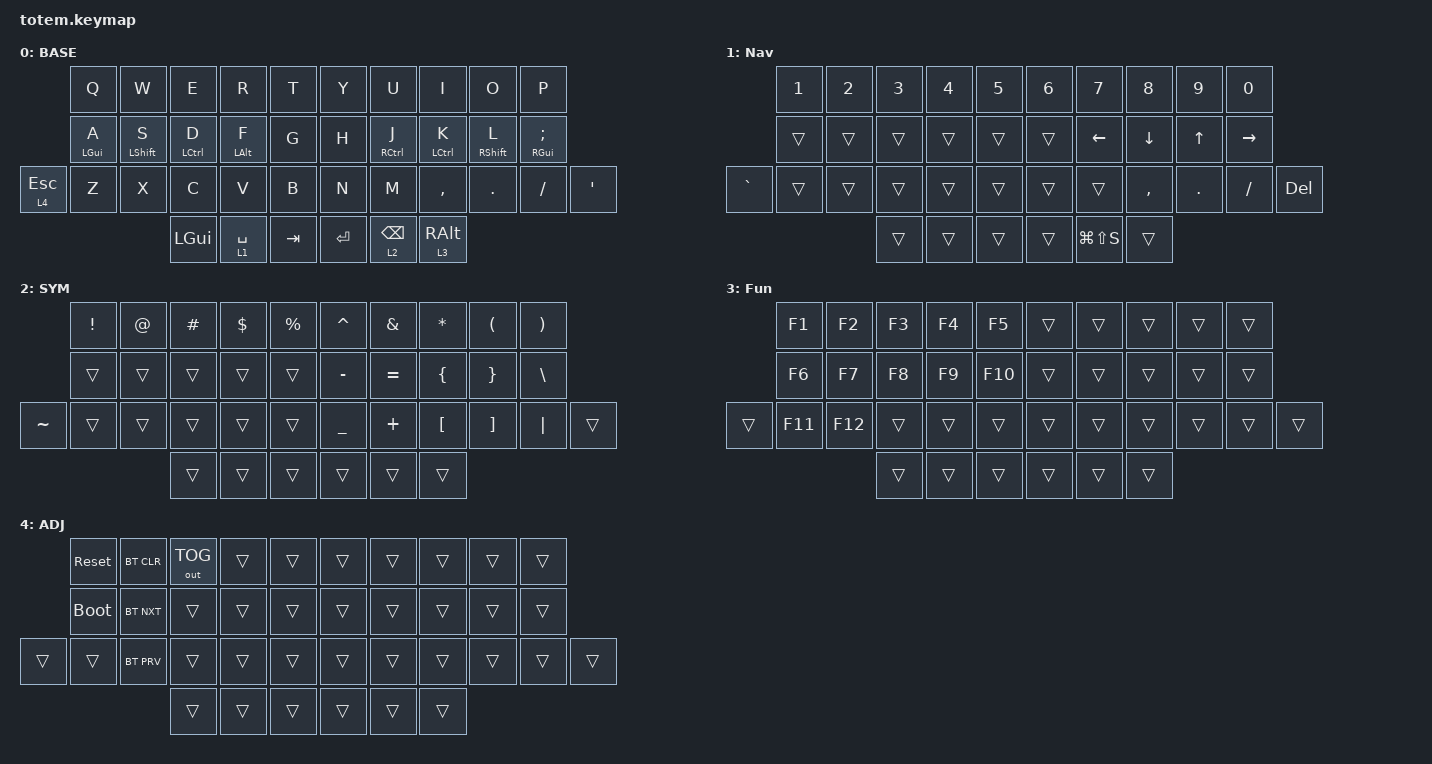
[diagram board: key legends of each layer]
//
//                                                        ▀▀▀▀▀     ▀▀▀▀▀          ▀▀█▀▀
//                                                        ▄▀▀▀▄  ▄  ▄▀▀▀▄  ▄  ▄▀▀▀▄  █  ▄▀▀▀▄
//                                                        █   █  █  █   █  █  █   █  █  █   █
//                                                         ▀▀▀   █   ▀▀▀   █   ▀▀▀   ▀   ▀▀▀
//                                                               █      ▄▄▄█▄▄▄    █   █  
//                                                               ▀      █  █  █     █▄█
//                                                             ▀▀▀▀▀    █  █  █      ▀
//                                                                      ▀  ▀  ▀
//
// ▄▄▄▄▄▄▄▄▄▄▄▄▄▄▄▄▄▄▄▄▄▄▄▄▄▄▄▄▄▄▄▄▄▄▄▄▄▄▄▄▄▄▄▄▄▄▄▄▄▄▄▄▄▄▄▄▄▄▄▄▄▄▄▄▄▄▄▄▄▄▄▄▄▄▄▄▄▄▄▄▄▄▄▄▄▄▄▄▄▄▄▄▄▄▄▄▄▄▄▄▄▄▄▄▄▄▄▄▄▄▄▄▄▄▄▄▄▄▄▄▄▄▄▄▄▄▄▄▄▄▄▄▄▄▄▄▄▄▄▄▄▄▄▄▄▄▄▄▄

#include <behaviors.dtsi>
#include <dt-bindings/zmk/bt.h>
#include <dt-bindings/zmk/keys.h>
#include <dt-bindings/zmk/outputs.h>

#define BASE 0
#define NAV  1
#define SYM  2
#define ADJ  3
#define TVP1 4
#define TVP2 5

&mt {
    quick-tap-ms = <100>;
    global-quick-tap;
    flavor = "tap-preferred";
    tapping-term-ms = <170>;
};

&lt {
    tapping-term-ms = <240>;
    quick-tap-ms = <150>;
    flavor = "balanced";
};

/ {
    combos {
        compatible = "zmk,combos";

        combo_esc {
            timeout-ms = <50>;
            key-positions = <0 1>;
            bindings = <&kp ESC>;
        };

        combo_tvp {
            timeout-ms = <100>;
            key-positions = <11 12 13>;
            bindings = <&tog 0>;
        };

        caps {
            bindings = <&kp CAPSLOCK>;
            key-positions = <8 9 7>;
        };

        win_lock {
            bindings = <&kp LG(L)>;
            key-positions = <20 31>;
        };

        win_tab {
            bindings = <&kp LG(TAB)>;
            key-positions = <16 17 18 16 17>;
            layers = <0>;
        };

        nen_vwin {
            bindings = <&kp LG(LC(D))>;
            key-positions = <16 17 18 19>;
        };

        vwin_left {
            bindings = <&kp LG(LC(LEFT))>;
            key-positions = <16 17>;
        };

        vwin_right {
            bindings = <&kp LG(RIGHT)>;
            key-positions = <17 18>;
        };

        del_vwin {
            bindings = <&kp LG(LC(F4))>;
            key-positions = <27 28 29>;
        };
    };

    behaviors {
        hm: homerow_mods {
            compatible = "zmk,behavior-hold-tap";
            label = "HOMEROW_MODS";
            bindings = <&kp>, <&kp>;

            global-quick-tap;
            #binding-cells = <2>;
            tapping-term-ms = <270>;
            quick-tap-ms = <150>;
            flavor = "tap-preferred";
        };

        hm_s_r: homerow_shift_r {
            compatible = "zmk,behavior-hold-tap";
            label = "HM_S";
            bindings = <&kp>, <&kp>;

            #binding-cells = <2>;
            tapping-term-ms = <130>;
            quick-tap-ms = <100>;
            flavor = "tap-preferred";
        };

        hm_c: homerow_ctrl {
            compatible = "zmk,behavior-hold-tap";
            label = "HM_C";
            bindings = <&kp>, <&kp>;

            #binding-cells = <2>;
            tapping-term-ms = <150>;
            quick-tap-ms = <100>;
            flavor = "tap-preferred";
        };

        hm_s_l: hm_s_l {
            compatible = "zmk,behavior-hold-tap";
            label = "HM_S_L";
            bindings = <&kp>, <&kp>;

            #binding-cells = <2>;
            tapping-term-ms = <220>;
            quick-tap-ms = <150>;
            flavor = "tap-preferred";
        };
    };

    keymap {
        compatible = "zmk,keymap";

        // ▄▄▄▄▄▄▄▄▄▄▄▄▄▄▄▄▄▄▄▄▄▄▄▄▄▄▄▄▄▄▄▄▄▄▄▄▄▄▄▄▄▄▄▄▄▄▄▄▄▄▄▄▄▄▄▄▄▄▄▄▄▄▄▄▄▄▄▄▄▄▄▄▄▄▄▄▄▄▄▄▄▄▄▄▄▄▄▄▄▄▄▄▄▄▄▄▄▄▄▄▄▄▄▄▄▄▄▄▄▄▄▄▄▄▄▄▄▄▄▄▄▄▄▄▄▄▄▄▄▄▄▄▄▄▄▄▄▄▄▄▄▄▄▄▄▄▄▄▄

        base_layer {
            // ┏━━━━━━━━━━━━━━━━━━━━━━━━━━━━━━━━━━━━━━━┓

            label = "BASE";

            // ┗━━━━━━━━━━━━━━━━━━━━━━━━━━━━━━━━━━━━━━━┛
            //             ┏━━━━━━━━━━━┳━━━━━━━━━━━┳━━━━━━━━━━━┳━━━━━━━━━━━┳━━━━━━━━━━━┓   ┏━━━━━━━━━━━┳━━━━━━━━━━━┳━━━━━━━━━━━┳━━━━━━━━━━━┳━━━━━━━━━━━┓
            //             ┃     Q     ┃     W     ┃     F     ┃     P     ┃     G     ┃   ┃     J     ┃     L     ┃     U     ┃     Y     ┃     ;     ┃
            //             ┣━━━━━━━━━━━╋━━━━━━━━━━━╋━━━━━━━━━━━╋━━━━━━━━━━━╋━━━━━━━━━━━┫   ┣━━━━━━━━━━━╋━━━━━━━━━━━╋━━━━━━━━━━━╋━━━━━━━━━━━╋━━━━━━━━━━━┫
            //             ┃     A     ┃     R     ┃     S     ┃     T     ┃     D     ┃   ┃     H     ┃     N     ┃     E     ┃     I     ┃     O     ┃
            // ┏━━━━━━━━━━━╋━━━━━━━━━━━╋━━━━━━━━━━━╋━━━━━━━━━━━╋━━━━━━━━━━━╋━━━━━━━━━━━┫   ┣━━━━━━━━━━━╋━━━━━━━━━━━╋━━━━━━━━━━━╋━━━━━━━━━━━╋━━━━━━━━━━━╋━━━━━━━━━━━┓
            // ┃     Q     ┃     Z     ┃     X     ┃     C     ┃     V     ┃     B     ┃   ┃     K     ┃     M     ┃     ,     ┃     .     ┃     /     ┃     \     ┃
            // ┗━━━━━━━━━━━┻━━━━━━━━━━━┻━━━━━━━━━━━╋━━━━━━━━━━━╋━━━━━━━━━━━╋━━━━━━━━━━━┫   ┣━━━━━━━━━━━╋━━━━━━━━━━━╋━━━━━━━━━━━╋━━━━━━━━━━━┻━━━━━━━━━━━┻━━━━━━━━━━━┛
            //                                     ┃    DEL    ┃    TAB    ┃    SPC    ┃   ┃   ENTER   ┃           ┃   BSPC    ┃
            //                                     ┗━━━━━━━━━━━┻━━━━━━━━━━━┻━━━━━━━━━━━┛   ┗━━━━━━━━━━━┻━━━━━━━━━━━┻━━━━━━━━━━━┛

            bindings = <
           &kp Q       &kp W                 &kp E          &kp R           &kp T      &kp Y    &kp U            &kp I            &kp O            &kp P
           &hm LGUI A  &hm_s_l LEFT_SHIFT S  &hm_c LCTRL D  &hm LEFT_ALT F  &kp G      &kp H    &hm RCTRL J      &hm_c LCTRL K    &hm_s_r RSHFT L  &hm RGUI SEMI
&lt 4 ESC  &kp Z       &kp X                 &kp C          &kp V           &kp B      &kp N    &kp M            &kp COMMA        &kp DOT          &kp FSLH       &kp SQT
                                             &kp LEFT_GUI   &lt 1 SPACE     &kp TAB    &kp RET  &lt 2 BACKSPACE  &lt 3 RIGHT_ALT
            >;
        };

        Nav {
            bindings = <
           &kp N1  &kp N2  &kp N3  &kp N4  &kp N5    &kp N6  &kp N7         &kp N8     &kp N9   &kp N0
           &trans  &trans  &trans  &trans  &trans    &trans  &kp LEFT       &kp DOWN   &kp UP   &kp RIGHT
&kp GRAVE  &trans  &trans  &trans  &trans  &trans    &trans  &trans         &kp COMMA  &kp DOT  &kp SLASH  &kp DELETE
                           &trans  &trans  &trans    &trans  &kp LG(LS(S))  &trans
            >;
        };

        Sym {
            // ┏━━━━━━━━━━━━━━━━━━━━━━━━━━━━━━━━━━━━━━━┓

            label = "SYM";

            // ┗━━━━━━━━━━━━━━━━━━━━━━━━━━━━━━━━━━━━━━━┛
            //             ┏━━━━━━━━━━━┳━━━━━━━━━━━┳━━━━━━━━━━━┳━━━━━━━━━━━┳━━━━━━━━━━━┓   ┏━━━━━━━━━━━┳━━━━━━━━━━━┳━━━━━━━━━━━┳━━━━━━━━━━━┳━━━━━━━━━━━┓
            //             ┃     !     ┃     @     ┃     #     ┃     $     ┃     %     ┃   ┃     ˆ     ┃     &     ┃     Ü     ┃     '     ┃     "     ┃
            //             ┣━━━━━━━━━━━╋━━━━━━━━━━━╋━━━━━━━━━━━╋━━━━━━━━━━━╋━━━━━━━━━━━┫   ┣━━━━━━━━━━━╋━━━━━━━━━━━╋━━━━━━━━━━━╋━━━━━━━━━━━╋━━━━━━━━━━━┫
            //             ┃     Ä     ┃           ┃    SZ     ┃           ┃           ┃   ┃   MUTE    ┃   YEN     ┃   EURO    ┃  POUND    ┃     Ö     ┃
            // ┏━━━━━━━━━━━╋━━━━━━━━━━━╋━━━━━━━━━━━╋━━━━━━━━━━━╋━━━━━━━━━━━╋━━━━━━━━━━━┫   ┣━━━━━━━━━━━╋━━━━━━━━━━━╋━━━━━━━━━━━╋━━━━━━━━━━━╋━━━━━━━━━━━╋━━━━━━━━━━━┓
            // ┃           ┃  EMAIL1   ┃  EMAIL2   ┃           ┃           ┃           ┃   ┃   VOL-    ┃   VOL+    ┃   LAST    ┃   NEXT    ┃     \     ┃           ┃
            // ┗━━━━━━━━━━━┻━━━━━━━━━━━┻━━━━━━━━━━━╋━━━━━━━━━━━╋━━━━━━━━━━━╋━━━━━━━━━━━┫   ┣━━━━━━━━━━━╋━━━━━━━━━━━╋━━━━━━━━━━━╋━━━━━━━━━━━┻━━━━━━━━━━━┻━━━━━━━━━━━┛
            //                                     ┃           ┃    GIF    ┃    ADJ    ┃   ┃           ┃           ┃           ┃
            //                                     ┗━━━━━━━━━━━┻━━━━━━━━━━━┻━━━━━━━━━━━┛   ┗━━━━━━━━━━━┻━━━━━━━━━━━┻━━━━━━━━━━━┛

            bindings = <
           &kp EXCL  &kp AT  &kp HASH  &kp DLLR  &kp PRCNT    &kp CARET       &kp AMPS   &kp ASTERISK      &kp LPAR           &kp RIGHT_PARENTHESIS
           &trans    &trans  &trans    &trans    &trans       &kp MINUS       &kp EQUAL  &kp LEFT_BRACE    &kp RIGHT_BRACE    &kp BACKSLASH
&kp TILDE  &trans    &trans  &trans    &trans    &trans       &kp UNDERSCORE  &kp PLUS   &kp LEFT_BRACKET  &kp RIGHT_BRACKET  &kp PIPE               &trans
                             &trans    &trans    &trans       &trans          &trans     &trans
            >;
        };

        Fun {
            bindings = <
        &kp F1   &kp F2   &kp F3  &kp F4  &kp F5     &trans  &trans  &trans  &trans  &trans
        &kp F6   &kp F7   &kp F8  &kp F9  &kp F10    &trans  &trans  &trans  &trans  &trans
&trans  &kp F11  &kp F12  &trans  &trans  &trans     &trans  &trans  &trans  &trans  &trans  &trans
                          &trans  &trans  &trans     &trans  &trans  &trans
            >;
        };

        adjust_layer {
            // ┏━━━━━━━━━━━━━━━━━━━━━━━━━━━━━━━━━━━━━━━┓

            label = "ADJ";

            // ┗━━━━━━━━━━━━━━━━━━━━━━━━━━━━━━━━━━━━━━━┛
            //             ┏━━━━━━━━━━━┳━━━━━━━━━━━┳━━━━━━━━━━━┳━━━━━━━━━━━┳━━━━━━━━━━━┓   ┏━━━━━━━━━━━┳━━━━━━━━━━━┳━━━━━━━━━━━┳━━━━━━━━━━━┳━━━━━━━━━━━┓
            //             ┃   RESET   ┃ BT CLEAR  ┃  OUT TOG  ┃           ┃           ┃   ┃           ┃    F7     ┃    F8     ┃    F9     ┃    F12    ┃
            //             ┣━━━━━━━━━━━╋━━━━━━━━━━━╋━━━━━━━━━━━╋━━━━━━━━━━━╋━━━━━━━━━━━┫   ┣━━━━━━━━━━━╋━━━━━━━━━━━╋━━━━━━━━━━━╋━━━━━━━━━━━╋━━━━━━━━━━━┫
            //             ┃ BOOTLOAD  ┃ BT NEXT   ┃           ┃           ┃           ┃   ┃           ┃    F4     ┃    F5     ┃    F6     ┃    F11    ┃
            // ┏━━━━━━━━━━━╋━━━━━━━━━━━╋━━━━━━━━━━━╋━━━━━━━━━━━╋━━━━━━━━━━━╋━━━━━━━━━━━┫   ┣━━━━━━━━━━━╋━━━━━━━━━━━╋━━━━━━━━━━━╋━━━━━━━━━━━╋━━━━━━━━━━━╋━━━━━━━━━━━┓
            // ┃           ┃           ┃ BT PREV   ┃           ┃           ┃           ┃   ┃           ┃    F1     ┃    F2     ┃    F3     ┃    F10    ┃           ┃
            // ┗━━━━━━━━━━━┻━━━━━━━━━━━┻━━━━━━━━━━━╋━━━━━━━━━━━╋━━━━━━━━━━━╋━━━━━━━━━━━┫   ┣━━━━━━━━━━━╋━━━━━━━━━━━╋━━━━━━━━━━━╋━━━━━━━━━━━┻━━━━━━━━━━━┻━━━━━━━━━━━┛
            //                                     ┃           ┃           ┃           ┃   ┃           ┃           ┃           ┃
            //                                     ┗━━━━━━━━━━━┻━━━━━━━━━━━┻━━━━━━━━━━━┛   ┗━━━━━━━━━━━┻━━━━━━━━━━━┻━━━━━━━━━━━┛

            bindings = <
        &sys_reset   &bt BT_CLR  &out OUT_TOG  &trans  &trans    &trans  &trans  &trans  &trans  &trans
        &bootloader  &bt BT_NXT  &trans        &trans  &trans    &trans  &trans  &trans  &trans  &trans
&trans  &trans       &bt BT_PRV  &trans        &trans  &trans    &trans  &trans  &trans  &trans  &trans  &trans
                                 &trans        &trans  &trans    &trans  &trans  &trans
            >;
        };
    };

    conditional_layers {
        compatible = "zmk,conditional-layers";

        adjust {
            if-layers = <2 3>;
            then-layer = <4>;
        };
    };
};
